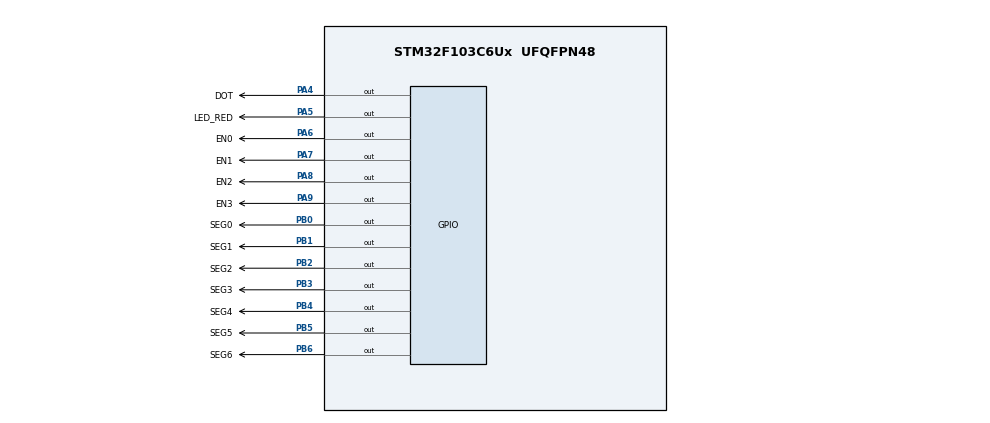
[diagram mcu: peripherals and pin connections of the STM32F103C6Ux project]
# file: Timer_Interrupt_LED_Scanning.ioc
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Mcu.Family=STM32F1
Mcu.Name=STM32F103C6Ux
Mcu.Package=UFQFPN48
NVIC.PriorityGroup=NVIC_PRIORITYGROUP_4
NVIC.TIM2_IRQn=true\:0\:0\:false\:false\:true\:true\:true
PA4.GPIO_Label=DOT
PA4.Signal=GPIO_Output
PA5.GPIO_Label=LED_RED
PA5.Signal=GPIO_Output
PA6.GPIO_Label=EN0
PA6.Signal=GPIO_Output
PA7.GPIO_Label=EN1
PA7.Signal=GPIO_Output
PA8.GPIO_Label=EN2
PA8.Signal=GPIO_Output
PA9.GPIO_Label=EN3
PA9.Signal=GPIO_Output
PB0.GPIO_Label=SEG0
PB0.Signal=GPIO_Output
PB1.GPIO_Label=SEG1
PB1.Signal=GPIO_Output
PB2.GPIO_Label=SEG2
PB2.Signal=GPIO_Output
PB3.GPIO_Label=SEG3
PB3.Signal=GPIO_Output
PB4.GPIO_Label=SEG4
PB4.Signal=GPIO_Output
PB5.GPIO_Label=SEG5
PB5.Signal=GPIO_Output
PB6.GPIO_Label=SEG6
PB6.Signal=GPIO_Output
ProjectManager.HeapSize=0x200
ProjectManager.StackSize=0x400
ProjectManager.TargetToolchain=STM32CubeIDE
RCC.APB1Freq_Value=8000000
RCC.APB2Freq_Value=8000000
TIM2.Period=9
TIM2.Prescaler=7999
VP_SYS_VS_ND.Mode=No_Debug
VP_TIM2_VS_ClockSourceINT.Mode=Internal
board=custom

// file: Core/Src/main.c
/* USER CODE BEGIN Header */
/**
  ******************************************************************************
  * @file           : main.c
  * @brief          : Main program body
  ******************************************************************************
  * @attention
  *
  * <h2><center>&copy; Copyright (c) 2023 STMicroelectronics.
  * All rights reserved.</center></h2>
  *
  * This software component is licensed by ST under BSD 3-Clause license,
  * the "License"; You may not use this file except in compliance with the
  * License. You may obtain a copy of the License at:
  *                        opensource.org/licenses/BSD-3-Clause
  *
  ******************************************************************************
  */
/* USER CODE END Header */
#include "main.h"

TIM_HandleTypeDef htim2;

void SystemClock_Config(void);
static void MX_GPIO_Init(void);
static void MX_TIM2_Init(void);

/* USER CODE BEGIN 0 */
int timer0_counter = 0;
int timer0_flag = 0;
int timer1_counter = 0;
int timer1_flag = 0;
int timer2_counter = 0;
int timer2_flag = 0;
int timer3_counter = 0;
int timer3_flag = 0;
int TIMER_CYCLE = 10; // 10ms
void setTimer0(int duration) {
	timer0_counter = duration / TIMER_CYCLE;
	timer0_flag = 0;
}
void setTimer1(int duration) {
	timer1_counter = duration / TIMER_CYCLE;
	timer1_flag = 0;
}
void setTimer2(int duration) {
	timer2_counter = duration / TIMER_CYCLE;
	timer2_flag = 0;
}
void setTimer3(int duration) {
	timer3_counter = duration / TIMER_CYCLE;
	timer3_flag = 0;
}
void timer_run() {
	if (timer0_counter > 0) {
		timer0_counter--;
		if (timer0_counter == 0) timer0_flag = 1;
	}
	if (timer1_counter > 0) {
		timer1_counter--;
		if (timer1_counter == 0) timer1_flag = 1;
	}
	if (timer2_counter > 0) {
		timer2_counter--;
		if (timer2_counter == 0) timer2_flag = 1;
	}
	if (timer3_counter > 0) {
		timer3_counter--;
		if (timer3_counter == 0) timer3_flag = 1;
	}
}
/* USER CODE END 0 */

void display7SEG (int num){
		switch (num){
		case 0:
			HAL_GPIO_WritePin(SEG0_GPIO_Port, SEG0_Pin, RESET);
			HAL_GPIO_WritePin(SEG1_GPIO_Port, SEG1_Pin, RESET);
			HAL_GPIO_WritePin(SEG2_GPIO_Port, SEG2_Pin, RESET);
			HAL_GPIO_WritePin(SEG3_GPIO_Port, SEG3_Pin, RESET);
			HAL_GPIO_WritePin(SEG4_GPIO_Port, SEG4_Pin, RESET);
			HAL_GPIO_WritePin(SEG5_GPIO_Port, SEG5_Pin, RESET);
			HAL_GPIO_WritePin(SEG6_GPIO_Port, SEG6_Pin, SET);
			break;
		case 1:
			HAL_GPIO_WritePin(SEG0_GPIO_Port, SEG0_Pin, SET);
			HAL_GPIO_WritePin(SEG1_GPIO_Port, SEG1_Pin, RESET);
			HAL_GPIO_WritePin(SEG2_GPIO_Port, SEG2_Pin, RESET);
			HAL_GPIO_WritePin(SEG3_GPIO_Port, SEG3_Pin, SET);
			HAL_GPIO_WritePin(SEG4_GPIO_Port, SEG4_Pin, SET);
			HAL_GPIO_WritePin(SEG5_GPIO_Port, SEG5_Pin, SET);
			HAL_GPIO_WritePin(SEG6_GPIO_Port, SEG6_Pin, SET);
			break;
		case 2:
			HAL_GPIO_WritePin(SEG0_GPIO_Port, SEG0_Pin, RESET);
			HAL_GPIO_WritePin(SEG1_GPIO_Port, SEG1_Pin, RESET);
			HAL_GPIO_WritePin(SEG2_GPIO_Port, SEG2_Pin, SET);
			HAL_GPIO_WritePin(SEG3_GPIO_Port, SEG3_Pin, RESET);
			HAL_GPIO_WritePin(SEG4_GPIO_Port, SEG4_Pin, RESET);
			HAL_GPIO_WritePin(SEG5_GPIO_Port, SEG5_Pin, SET);
			HAL_GPIO_WritePin(SEG6_GPIO_Port, SEG6_Pin, RESET);
			break;
		case 3:
			HAL_GPIO_WritePin(SEG0_GPIO_Port, SEG0_Pin, RESET);
			HAL_GPIO_WritePin(SEG1_GPIO_Port, SEG1_Pin, RESET);
			HAL_GPIO_WritePin(SEG2_GPIO_Port, SEG2_Pin, RESET);
			HAL_GPIO_WritePin(SEG3_GPIO_Port, SEG3_Pin, RESET);
			HAL_GPIO_WritePin(SEG4_GPIO_Port, SEG4_Pin, SET);
			HAL_GPIO_WritePin(SEG5_GPIO_Port, SEG5_Pin, SET);
			HAL_GPIO_WritePin(SEG6_GPIO_Port, SEG6_Pin, RESET);
			break;
		case 4:
			HAL_GPIO_WritePin(SEG0_GPIO_Port, SEG0_Pin, SET);
			HAL_GPIO_WritePin(SEG1_GPIO_Port, SEG1_Pin, RESET);
			HAL_GPIO_WritePin(SEG2_GPIO_Port, SEG2_Pin, RESET);
			HAL_GPIO_WritePin(SEG3_GPIO_Port, SEG3_Pin, SET);
			HAL_GPIO_WritePin(SEG4_GPIO_Port, SEG4_Pin, SET);
			HAL_GPIO_WritePin(SEG5_GPIO_Port, SEG5_Pin, RESET);
			HAL_GPIO_WritePin(SEG6_GPIO_Port, SEG6_Pin, RESET);
			break;
		case 5:
			HAL_GPIO_WritePin(SEG0_GPIO_Port, SEG0_Pin, RESET);
			HAL_GPIO_WritePin(SEG1_GPIO_Port, SEG1_Pin, SET);
			HAL_GPIO_WritePin(SEG2_GPIO_Port, SEG2_Pin, RESET);
			HAL_GPIO_WritePin(SEG3_GPIO_Port, SEG3_Pin, RESET);
			HAL_GPIO_WritePin(SEG4_GPIO_Port, SEG4_Pin, SET);
			HAL_GPIO_WritePin(SEG5_GPIO_Port, SEG5_Pin, RESET);
			HAL_GPIO_WritePin(SEG6_GPIO_Port, SEG6_Pin, RESET);
			break;
		case 6:
			HAL_GPIO_WritePin(SEG0_GPIO_Port, SEG0_Pin, RESET);
			HAL_GPIO_WritePin(SEG1_GPIO_Port, SEG1_Pin, SET);
			HAL_GPIO_WritePin(SEG2_GPIO_Port, SEG2_Pin, RESET);
			HAL_GPIO_WritePin(SEG3_GPIO_Port, SEG3_Pin, RESET);
			HAL_GPIO_WritePin(SEG4_GPIO_Port, SEG4_Pin, RESET);
			HAL_GPIO_WritePin(SEG5_GPIO_Port, SEG5_Pin, RESET);
			HAL_GPIO_WritePin(SEG6_GPIO_Port, SEG6_Pin, RESET);
			break;
		case 7:
			HAL_GPIO_WritePin(SEG0_GPIO_Port, SEG0_Pin, RESET);
			HAL_GPIO_WritePin(SEG1_GPIO_Port, SEG1_Pin, RESET);
			HAL_GPIO_WritePin(SEG2_GPIO_Port, SEG2_Pin, RESET);
			HAL_GPIO_WritePin(SEG3_GPIO_Port, SEG3_Pin, SET);
			HAL_GPIO_WritePin(SEG4_GPIO_Port, SEG4_Pin, SET);
			HAL_GPIO_WritePin(SEG5_GPIO_Port, SEG5_Pin, SET);
			HAL_GPIO_WritePin(SEG6_GPIO_Port, SEG6_Pin, SET);
			break;
		case 8:
			HAL_GPIO_WritePin(SEG0_GPIO_Port, SEG0_Pin, RESET);
			HAL_GPIO_WritePin(SEG1_GPIO_Port, SEG1_Pin, RESET);
			HAL_GPIO_WritePin(SEG2_GPIO_Port, SEG2_Pin, RESET);
			HAL_GPIO_WritePin(SEG3_GPIO_Port, SEG3_Pin, RESET);
			HAL_GPIO_WritePin(SEG4_GPIO_Port, SEG4_Pin, RESET);
			HAL_GPIO_WritePin(SEG5_GPIO_Port, SEG5_Pin, RESET);
			HAL_GPIO_WritePin(SEG6_GPIO_Port, SEG6_Pin, RESET);
			break;
		case 9:
			HAL_GPIO_WritePin(SEG0_GPIO_Port, SEG0_Pin, RESET);
			HAL_GPIO_WritePin(SEG1_GPIO_Port, SEG1_Pin, RESET);
			HAL_GPIO_WritePin(SEG2_GPIO_Port, SEG2_Pin, RESET);
			HAL_GPIO_WritePin(SEG3_GPIO_Port, SEG3_Pin, RESET);
			HAL_GPIO_WritePin(SEG4_GPIO_Port, SEG4_Pin, SET);
			HAL_GPIO_WritePin(SEG5_GPIO_Port, SEG5_Pin, RESET);
			HAL_GPIO_WritePin(SEG6_GPIO_Port, SEG6_Pin, RESET);
			break;
		}
}

const int MAX_LED = 4;
int index_led = 0;
int led_buffer[4] = {1, 2, 3, 4};
void update7SEG(int index) {
	switch (index) {
		case 0:
			// Display the first 7 SEG with led_buffer [0]
			HAL_GPIO_WritePin(EN0_GPIO_Port, EN0_Pin, GPIO_PIN_RESET);
			HAL_GPIO_WritePin(EN1_GPIO_Port, EN1_Pin, GPIO_PIN_SET);
			HAL_GPIO_WritePin(EN2_GPIO_Port, EN2_Pin, GPIO_PIN_SET);
			HAL_GPIO_WritePin(EN3_GPIO_Port, EN3_Pin, GPIO_PIN_SET);
			break ;
		case 1:
			// Display the second 7 SEG with led_buffer [1]
			HAL_GPIO_WritePin(EN0_GPIO_Port, EN0_Pin, GPIO_PIN_SET);
			HAL_GPIO_WritePin(EN1_GPIO_Port, EN1_Pin, GPIO_PIN_RESET);
			HAL_GPIO_WritePin(EN2_GPIO_Port, EN2_Pin, GPIO_PIN_SET);
			HAL_GPIO_WritePin(EN3_GPIO_Port, EN3_Pin, GPIO_PIN_SET);
			break ;
		case 2:
			// Display the third 7 SEG with led_buffer [2]
			HAL_GPIO_WritePin(EN0_GPIO_Port, EN0_Pin, GPIO_PIN_SET);
			HAL_GPIO_WritePin(EN1_GPIO_Port, EN1_Pin, GPIO_PIN_SET);
			HAL_GPIO_WritePin(EN2_GPIO_Port, EN2_Pin, GPIO_PIN_RESET);
			HAL_GPIO_WritePin(EN3_GPIO_Port, EN3_Pin, GPIO_PIN_SET);
			break ;
		case 3:
			// Display the forth 7 SEG with led_buffer [3]
			HAL_GPIO_WritePin(EN0_GPIO_Port, EN0_Pin, GPIO_PIN_SET);
			HAL_GPIO_WritePin(EN1_GPIO_Port, EN1_Pin, GPIO_PIN_SET);
			HAL_GPIO_WritePin(EN2_GPIO_Port, EN2_Pin, GPIO_PIN_SET);
			HAL_GPIO_WritePin(EN3_GPIO_Port, EN3_Pin, GPIO_PIN_RESET);
			break ;
		default :
			break ;
	}
	display7SEG(led_buffer[index]);
}

void updateClockBuffer(int hour, int minute) {
	led_buffer[0] = hour / 10;
	led_buffer[1] = hour % 10;
	led_buffer[2] = minute / 10;
	led_buffer[3] = minute % 10;
}

const int MAX_LED_MATRIX = 8;
int index_led_matrix = 0;
uint8_t matrix_buffer [8] = {b11100111, b11000011, b10011001, b10011001, b10000001, b10000001, b10011001, b10011001}; //A, binary to see it easier

void displayARow(int num) {
	uint8_t matrix = matrix_buffer [ num ];
	HAL_GPIO_WritePin(ENM0_GPIO_Port, ENM0_Pin, (matrix >> 0) & x01 ? 1 : 0);
	HAL_GPIO_WritePin(ENM1_GPIO_Port, ENM1_Pin, (matrix >> 1) & x01 ? 1 : 0);
	HAL_GPIO_WritePin(ENM2_GPIO_Port, ENM2_Pin, (matrix >> 2) & x01 ? 1 : 0);
	HAL_GPIO_WritePin (ENM3_GPIO_Port, ENM3_Pin , (matrix >> 3) & x01 ? 1 : 0);
	HAL_GPIO_WritePin(ENM4_GPIO_Port, ENM4_Pin, (matrix >> 4) & x01 ? 1 : 0) ;
	HAL_GPIO_WritePin(ENM5_GPIO_Port, ENM5_Pin, (matrix >> 5) & x01 ? 1 : 0) ;
	HAL_GPIO_WritePin(ENM6_GPIO_Port, ENM6_Pin, (matrix >> 6) & x01 ? 1 : 0) ;
	HAL_GPIO_WritePin(ENM7_GPIO_Port, ENM7_Pin, (matrix >> 7) & x01 ? 1 : 0);
}

void updateLEDMatrix ( int index ) {
	switch(index) {
		case 0:
			HAL_GPIO_WritePin(ROW0_GPIO_Port, ROW0_Pin, 0);
			displayARow(index);
			break;
		case 1:
			HAL_GPIO_WritePin(ROW0_GPIO_Port, ROW1_Pin, 0);
			displayARow(index);
			break;
		case 2:
			HAL_GPIO_WritePin(ROW0_GPIO_Port, ROW2_Pin, 0);
			displayARow(index);
			break;
		case 3:
			HAL_GPIO_WritePin(ROW0_GPIO_Port, ROW3_Pin, 0);
			displayARow(index);
			break;
		case 4:
			HAL_GPIO_WritePin(ROW0_GPIO_Port, ROW4_Pin, 0);
			displayARow(index);
			break;
		case 5:
			HAL_GPIO_WritePin(ROW0_GPIO_Port, ROW5_Pin, 0);
			displayARow(index);
			break;
		case 6:
			HAL_GPIO_WritePin(ROW0_GPIO_Port, ROW6_Pin, 0);
			displayARow(index);
			break;
		case 7:
			HAL_GPIO_WritePin(ROW0_GPIO_Port, ROW7_Pin, 0) ;
			displayARow(index) ;
			break;
		default:
			break;
		}
}

void HAL_TIM_PeriodElapsedCallback (TIM_HandleTypeDef * htim)
{
	timer_run();
}

int main(void)
{

  /* MCU Configuration--------------------------------------------------------*/

  /* Reset of all peripherals, Initializes the Flash interface and the Systick. */
  HAL_Init();

  /* Configure the system clock */
  SystemClock_Config();

  /* Initialize all configured peripherals */
  MX_GPIO_Init();
  MX_TIM2_Init();
  /* USER CODE BEGIN 2 */
  HAL_TIM_Base_Start_IT (& htim2 ) ;
  /* USER CODE END 2 */

  /* Infinite loop */
  /* USER CODE BEGIN WHILE */
  // Init clock 15:08
  int hour = 15 , minute = 8 , second = 50;
  updateClockBuffer(hour, minute);
  // Start timers
  setTimer0(10);
  setTimer1(10);
  setTimer2(10);
  setTimer3(100);
  int LEDcounter = 0; // To check if 4 LEDs are scanned in 1s
  while (1)
  {
	  // LED-RED blinks every 2s
	  if(timer0_flag == 1) {
		  HAL_GPIO_TogglePin(LED_RED_GPIO_Port, LED_RED_Pin);
		  setTimer0(2000);
	  }
	  // DOT LEDs blink every 1s
	  if(timer1_flag == 1) {
		  HAL_GPIO_TogglePin(DOT_GPIO_Port, DOT_Pin);
		  setTimer1(1000);
	  }
	  // Update 7SEG LEDs every 250ms
	  if(timer2_flag == 1) {
		  setTimer2(250);
		  update7SEG(index_led++);
		  LEDcounter++;
		  if(LEDcounter == 4) {
			  second++;
			  if(second >= 60) {
				  second = 0;
				  minute++;
			  }
			  if(minute >= 60) {
				  minute = 0;
				  hour++;
			  }
			  if(hour >= 24) {
				  hour = 0;
			  }
			  updateClockBuffer(hour, minute);
			  index_led = 0;
			  LEDcounter = 0;
		  }
	  }
	  if(timer3_flag == 1) {
		  setTimer3(180);
		  updateLEDMatrix(index_led_matrix++);
		  if(index_led_matrix == MAX_LED_MATRIX) {
			  index_led_matrix = 0;
		  }
	  }
  }
  /* USER CODE END 3 */
}

void SystemClock_Config(void)
{
  RCC_OscInitTypeDef RCC_OscInitStruct = {0};
  RCC_ClkInitTypeDef RCC_ClkInitStruct = {0};

  /** Initializes the RCC Oscillators according to the specified parameters
  * in the RCC_OscInitTypeDef structure.
  */
  RCC_OscInitStruct.OscillatorType = RCC_OSCILLATORTYPE_HSI;
  RCC_OscInitStruct.HSIState = RCC_HSI_ON;
  RCC_OscInitStruct.HSICalibrationValue = RCC_HSICALIBRATION_DEFAULT;
  RCC_OscInitStruct.PLL.PLLState = RCC_PLL_NONE;
  if (HAL_RCC_OscConfig(&RCC_OscInitStruct) != HAL_OK)
  {
    Error_Handler();
  }
  /** Initializes the CPU, AHB and APB buses clocks
  */
  RCC_ClkInitStruct.ClockType = RCC_CLOCKTYPE_HCLK|RCC_CLOCKTYPE_SYSCLK
                              |RCC_CLOCKTYPE_PCLK1|RCC_CLOCKTYPE_PCLK2;
  RCC_ClkInitStruct.SYSCLKSource = RCC_SYSCLKSOURCE_HSI;
  RCC_ClkInitStruct.AHBCLKDivider = RCC_SYSCLK_DIV1;
  RCC_ClkInitStruct.APB1CLKDivider = RCC_HCLK_DIV1;
  RCC_ClkInitStruct.APB2CLKDivider = RCC_HCLK_DIV1;

  if (HAL_RCC_ClockConfig(&RCC_ClkInitStruct, FLASH_LATENCY_0) != HAL_OK)
  {
    Error_Handler();
  }
}

static void MX_TIM2_Init(void)
{

  TIM_ClockConfigTypeDef sClockSourceConfig = {0};
  TIM_MasterConfigTypeDef sMasterConfig = {0};

  htim2.Instance = TIM2;
  htim2.Init.Prescaler = 7999;
  htim2.Init.CounterMode = TIM_COUNTERMODE_UP;
  htim2.Init.Period = 9;
  htim2.Init.ClockDivision = TIM_CLOCKDIVISION_DIV1;
  htim2.Init.AutoReloadPreload = TIM_AUTORELOAD_PRELOAD_DISABLE;
  if (HAL_TIM_Base_Init(&htim2) != HAL_OK)
  {
    Error_Handler();
  }
  sClockSourceConfig.ClockSource = TIM_CLOCKSOURCE_INTERNAL;
  if (HAL_TIM_ConfigClockSource(&htim2, &sClockSourceConfig) != HAL_OK)
  {
    Error_Handler();
  }
  sMasterConfig.MasterOutputTrigger = TIM_TRGO_RESET;
  sMasterConfig.MasterSlaveMode = TIM_MASTERSLAVEMODE_DISABLE;
  if (HAL_TIMEx_MasterConfigSynchronization(&htim2, &sMasterConfig) != HAL_OK)
  {
    Error_Handler();
  }

}

static void MX_GPIO_Init(void)
{
  GPIO_InitTypeDef GPIO_InitStruct = {0};

  /* GPIO Ports Clock Enable */
  __HAL_RCC_GPIOA_CLK_ENABLE();
  __HAL_RCC_GPIOB_CLK_ENABLE();

  /*Configure GPIO pin Output Level */
  HAL_GPIO_WritePin(GPIOA, DOT_Pin|LED_RED_Pin|EN0_Pin|EN1_Pin
                          |EN2_Pin|EN3_Pin, GPIO_PIN_RESET);

  /*Configure GPIO pin Output Level */
  HAL_GPIO_WritePin(GPIOB, SEG0_Pin|SEG1_Pin|SEG2_Pin|SEG3_Pin
                          |SEG4_Pin|SEG5_Pin|SEG6_Pin, GPIO_PIN_RESET);

  /*Configure GPIO pins : DOT_Pin LED_RED_Pin EN0_Pin EN1_Pin
                           EN2_Pin EN3_Pin */
  GPIO_InitStruct.Pin = DOT_Pin|LED_RED_Pin|EN0_Pin|EN1_Pin
                          |EN2_Pin|EN3_Pin;
  GPIO_InitStruct.Mode = GPIO_MODE_OUTPUT_PP;
  GPIO_InitStruct.Pull = GPIO_NOPULL;
  GPIO_InitStruct.Speed = GPIO_SPEED_FREQ_LOW;
  HAL_GPIO_Init(GPIOA, &GPIO_InitStruct);

  /*Configure GPIO pins : SEG0_Pin SEG1_Pin SEG2_Pin SEG3_Pin
                           SEG4_Pin SEG5_Pin SEG6_Pin */
  GPIO_InitStruct.Pin = SEG0_Pin|SEG1_Pin|SEG2_Pin|SEG3_Pin
                          |SEG4_Pin|SEG5_Pin|SEG6_Pin;
  GPIO_InitStruct.Mode = GPIO_MODE_OUTPUT_PP;
  GPIO_InitStruct.Pull = GPIO_NOPULL;
  GPIO_InitStruct.Speed = GPIO_SPEED_FREQ_LOW;
  HAL_GPIO_Init(GPIOB, &GPIO_InitStruct);

}

void Error_Handler(void)
{
  __disable_irq();
  while (1)
  {
  }
}

/************************ (C) COPYRIGHT STMicroelectronics *****END OF FILE****/
